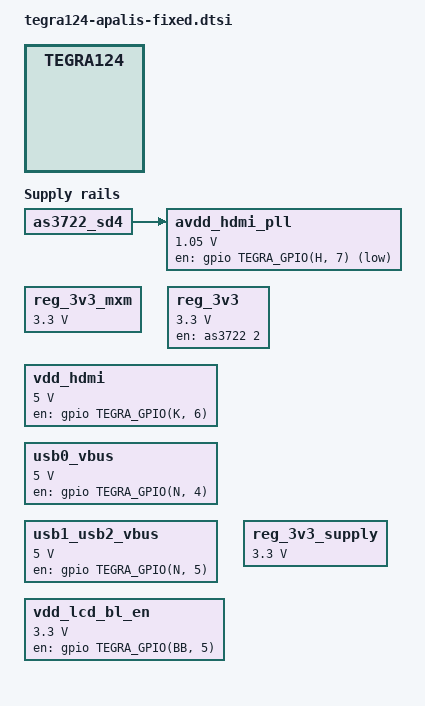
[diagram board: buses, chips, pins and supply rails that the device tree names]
#include <dt-bindings/gpio/tegra-gpio.h>

/ {
	regulators {
		compatible = "simple-bus";
		#address-cells = <1>;
		#size-cells = <0>;

		avdd_hdmi_pll: regulator@0 {
			compatible = "regulator-fixed-sync";
			reg = <0>;
			regulator-name = "+V1.05_AVDD_HDMI_PLL";
			regulator-min-microvolt = <1050000>;
			regulator-max-microvolt = <1050000>;
			gpio = <&gpio TEGRA_GPIO(H, 7) 0>;
			vin-supply = <&as3722_sd4>;
			consumers {
				c1 {
					regulator-consumer-supply = "avdd_hdmi_pll";
					regulator-consumer-device = "tegradc.1";
				};
				c2 {
					regulator-consumer-supply = "avdd_hdmi_pll";
					regulator-consumer-device = "tegradc.0";
				};
			};
		};

		reg_3v3_mxm: regulator@1 {
			compatible = "regulator-fixed";
			reg = <1>;
			regulator-name = "+V3.3_MXM";
			regulator-min-microvolt = <3300000>;
			regulator-max-microvolt = <3300000>;

			consumers {
				c1 {
					regulator-consumer-supply = "vdd_3v3_emmc";
				};
				c2 {
					regulator-consumer-supply = "vdd_com_3v3";
				};
			};
		};

		reg_3v3: regulator@2 {
			compatible = "regulator-fixed-sync";
			reg = <2>;
			regulator-name = "+V3.3";
			regulator-min-microvolt = <3300000>;
			regulator-max-microvolt = <3300000>;
			regulator-always-on;
			regulator-boot-on;
			/* PWR_EN_+V3.3 */
			gpio = <&as3722 2 0>;
			enable-active-high;

			consumers {
				c1 {
					regulator-consumer-supply = "avdd_usb";
					regulator-consumer-device = "tegra-udc.0";
				};
				c2 {
					regulator-consumer-supply = "avdd_usb";
					regulator-consumer-device = "tegra-ehci.0";
				};
				c3 {
					regulator-consumer-supply = "avdd_usb";
					regulator-consumer-device = "tegra-ehci.1";
				};
				c4 {
					regulator-consumer-supply = "avdd_usb";
					regulator-consumer-device = "tegra-ehci.2";
				};
				c5 {
					regulator-consumer-supply = "hvdd_usb";
					regulator-consumer-device = "tegra-xhci";
				};
				c6 {
					regulator-consumer-supply = "vddio_hv";
					regulator-consumer-device = "tegradc.1";
				};
				c7 {
					regulator-consumer-supply = "pwrdet_hv";
				};
				c8 {
					regulator-consumer-supply = "vdd_sys_cam_3v3";
				};
				c9 {
					regulator-consumer-supply = "VDDA";
					regulator-consumer-device = "4-000a";
				};
				c10 {
					regulator-consumer-supply = "vddio_sd_slot";
					regulator-consumer-device = "sdhci-tegra.0";
				};
				c11 {
					regulator-consumer-supply = "vddio_sd_slot";
					regulator-consumer-device = "sdhci-tegra.2";
				};
				c12 {
					regulator-consumer-supply = "vdd_3v3_sensor";
				};
				c13 {
					regulator-consumer-supply = "vdd_kp_3v3";
				};
				c14 {
					regulator-consumer-supply = "vdd_tp_3v3";
				};
				c15 {
					regulator-consumer-supply = "vdd_dtv_3v3";
				};
				c16 {
					regulator-consumer-supply = "vdd";
					regulator-consumer-device = "4-004c";
				};
			};
		};

		vdd_hdmi: regulator@3 {
		  compatible = "regulator-fixed-sync";
		  reg = <3>;
		  regulator-name = "vdd-hdmi";
		  regulator-min-microvolt = <5000000>;
		  regulator-max-microvolt = <5000000>;
		  gpio = <&gpio TEGRA_GPIO(K, 6) 0>;
		  enable-active-high;
		  startup-delay-us = <5000>;

		  consumers {
			  c1 {
				  regulator-consumer-supply = "vdd_hdmi_5v0";
				  regulator-consumer-device = "tegradc.1";
			  };
			  c2 {
				  regulator-consumer-supply = "vdd_hdmi_5v0";
				  regulator-consumer-device = "tegradc.0";
			  };
		  };
	  };
		/* USBO1_EN */
		usb0_vbus: regulator@4 {
			compatible = "regulator-fixed-sync";
			reg = <4>;
			regulator-name = "usb0-vbus";
			regulator-min-microvolt = <5000000>;
			regulator-max-microvolt = <5000000>;
			gpio = <&gpio TEGRA_GPIO(N, 4) 0>;
			enable-active-high;

			consumers {
				c1 {
					regulator-consumer-supply = "usb_vbus";
					regulator-consumer-device = "tegra-ehci.0";
				};
				c2 {
					regulator-consumer-supply = "usb_vbus";
					regulator-consumer-device = "tegra-otg";
				};
				c3 {
					regulator-consumer-supply = "usb_vbus0";
					regulator-consumer-device = "tegra-xhci";
				};
			};
		};

		/* USBH_EN */
		usb1_usb2_vbus: regulator@5 {
			compatible = "regulator-fixed-sync";
			reg = <5>;
			regulator-name = "usb1-usb2-vbus";
			regulator-min-microvolt = <5000000>;
			regulator-max-microvolt = <5000000>;
			gpio = <&gpio TEGRA_GPIO(N, 5) 0>;
			enable-active-high;

			consumers {
				c1 {
					regulator-consumer-supply = "usb_vbus";
					regulator-consumer-device = "tegra-ehci.2";
				};
				c2 {
					regulator-consumer-supply = "usb_vbus2";
					regulator-consumer-device = "tegra-xhci";
				};
				c3 {
					regulator-consumer-supply = "usb_vbus";
					regulator-consumer-device = "tegra-ehci.1";
				};
				c4 {
					regulator-consumer-supply = "usb_vbus1";
					regulator-consumer-device = "tegra-xhci";
				};
			};
		};

		reg_3v3_supply: regulator@6 {
			compatible = "regulator-fixed";
			reg = <6>;
			regulator-name = "reg-3v3-supply";
			regulator-min-microvolt = <3300000>;
			regulator-max-microvolt = <3300000>;

			consumers {
				c1 {
					regulator-consumer-supply = "hvdd_pex";
				};
				c2 {
					regulator-consumer-supply = "hvdd_pex_pll";
				};
				c3 {
					regulator-consumer-supply = "hvdd_sata";
				};
			};
		};

		vdd_lcd_bl_en: regulator@7 {
			compatible = "regulator-fixed-sync";
			reg = <7>;
			regulator-name = "BKL1_ON";
			regulator-min-microvolt = <3300000>;
			regulator-max-microvolt = <3300000>;
			/* Apalis BKL1_ON */
			gpio = <&gpio TEGRA_GPIO(BB, 5) 0>;
			enable-active-high;

			consumers {
				c1 {
					regulator-consumer-supply = "vdd_lcd_bl";
				};
				c2 {
					regulator-consumer-supply = "vdd_lcd_bl_en";
				};
			};
		};
	};
};
